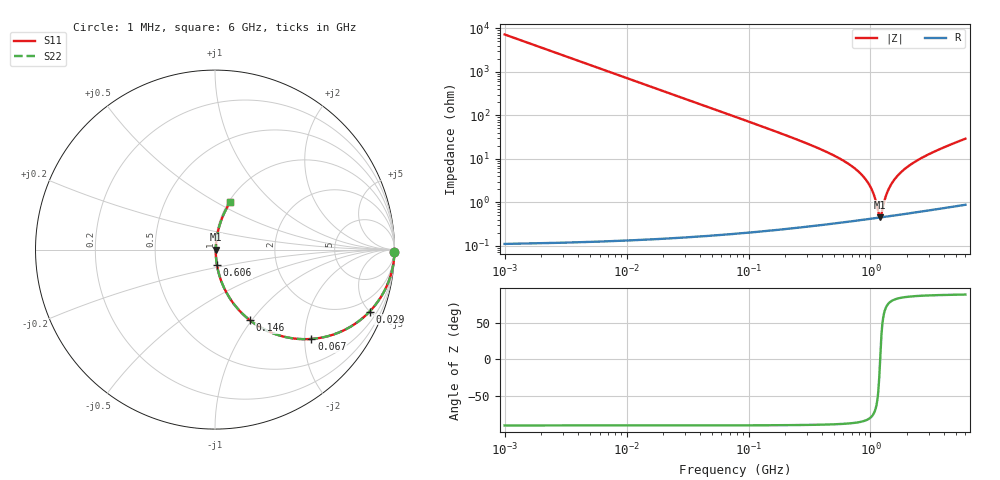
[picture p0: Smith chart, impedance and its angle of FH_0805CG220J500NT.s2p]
! FH 0805CG220J500NT 22 pF 0805 C0G (C1 C2)
! FH publishes no RF data: typical 0805 C0G model, ESL=0.8 nH, ESR=0.10+0.10*sqrt(f/100MHz) ohm
! Generated by make_s2p.py - an estimate, not a measurement
! Series-thru 2-port: part connected between port 1 and port 2.
# Hz S RI R 50
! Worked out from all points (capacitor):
!   1500 points, 1 MHz to 6 GHz, reference 50 ohm
!   read as one part in series: C = 22 pF near 8 MHz
!   lowest |Z| = 446 mohm at 1.2 GHz (marker M1)
!   series resonance near 1.2 GHz, so ESL is about 800 pH
!   S11 on the Smith chart (normalised r, x): 1 MHz: open; 29 MHz: 1.00, -4.99; 67 MHz: 1.00, -2.15; 146 MHz: 1.00, -0.98; 606 MHz: 1.01, -0.18; 6 GHz: 1.02, +0.58
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1000000  0.9998 -0.0138  0.000191 0.0138  0.000191 0.0138  0.9998 -0.0138
3000000  0.9983 -0.0414  0.00172 0.0414  0.00172 0.0414  0.9983 -0.0414
5000000  0.9952 -0.0688  0.00476 0.0688  0.00476 0.0688  0.9952 -0.0688
1.9e7  0.9354 -0.2457  0.0646 0.2457  0.0646 0.2457  0.9354 -0.2457
2.9e7  0.8613 -0.3454  0.1387 0.3454  0.1387 0.3454  0.8613 -0.3454
6.7e7  0.5367 -0.4978  0.4633 0.4978  0.4633 0.4978  0.5367 -0.4978
7.8e7  0.4604 -0.4974  0.5396 0.4974  0.5396 0.4974  0.4604 -0.4974
1.46e8  0.1935 -0.3928  0.8065 0.3928  0.8065 0.3928  0.1935 -0.3928
3.31e8  0.0417 -0.193  0.9583 0.193  0.9583 0.193  0.0417 -0.193
6.06e8  0.0112 -0.0876  0.9888 0.0876  0.9888 0.0876  0.0112 -0.0876
7.79e8  0.00662 -0.0532  0.9934 0.0532  0.9934 0.0532  0.00662 -0.0532
9.31e8  0.00498 -0.0306  0.995 0.0306  0.995 0.0306  0.00498 -0.0306
9.93e8  0.00465 -0.0227  0.9953 0.0227  0.9953 0.0227  0.00465 -0.0227
1.07e9  0.00444 -0.0137  0.9956 0.0137  0.9956 0.0137  0.00444 -0.0137
1.15e9  0.0044 -0.00506  0.9956 0.00506  0.9956 0.00506  0.0044 -0.00506
1.2e9  0.00444 3.23e-05  0.9956 -3.23e-05  0.9956 -3.23e-05  0.00444 3.23e-05
1.25e9  0.00454 0.00491  0.9955 -0.00491  0.9955 -0.00491  0.00454 0.00491
1.41e9  0.00511 0.0194  0.9949 -0.0194  0.9949 -0.0194  0.00511 0.0194
1.68e9  0.00676 0.0409  0.9932 -0.0409  0.9932 -0.0409  0.00676 0.0409
2.21e9  0.0117 0.077  0.9883 -0.077  0.9883 -0.077  0.0117 0.077
3.34e9  0.0273 0.1413  0.9727 -0.1413  0.9727 -0.1413  0.0273 0.1413
6e9  0.0841 0.2629  0.9159 -0.2629  0.9159 -0.2629  0.0841 0.2629
